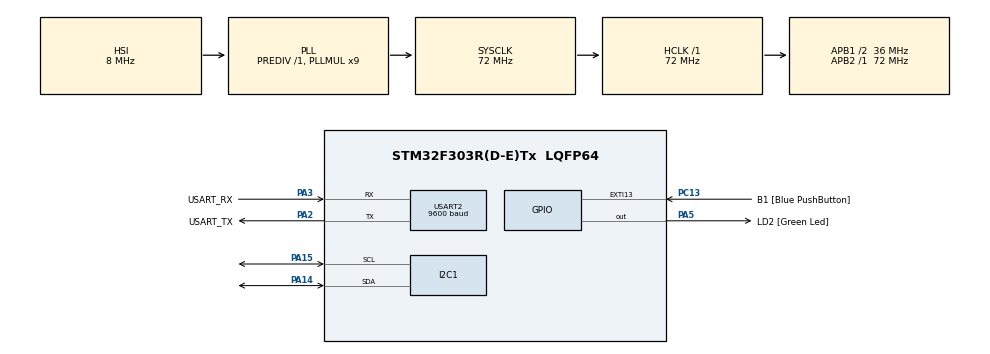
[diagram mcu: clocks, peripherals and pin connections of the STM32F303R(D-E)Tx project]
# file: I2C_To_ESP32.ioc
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Mcu.Family=STM32F3
PC15-OSC32_OUT.Mode=LSE-External-Oscillator
PA2.GPIO_PuPd=GPIO_NOPULL
RCC.CortexFreq_Value=72000000
PC13.Signal=GPXTI13
RCC.SYSCLKSourceVirtual=RCC_SYSCLKSOURCE_PLLCLK
PA3.GPIO_PuPd=GPIO_NOPULL
PA2.GPIO_Speed=GPIO_SPEED_FREQ_LOW
PC13.GPIO_Label=B1 [Blue PushButton]
RCC.APB1CLKDivider=RCC_HCLK_DIV2
PC14-OSC32_IN.Signal=RCC_OSC32_IN
PA3.GPIO_Speed=GPIO_SPEED_FREQ_LOW
USART2.BaudRate=9600
ProjectManager.StackSize=0x400
PA13.Signal=SYS_JTMS-SWDIO
PA3.Mode=Asynchronous
ProjectManager.TargetToolchain=STM32CubeIDE
PA3.GPIO_Mode=GPIO_MODE_AF_PP
RCC.HCLKFreq_Value=72000000
RCC.APB2TimFreq_Value=72000000
RCC.USBFreq_Value=72000000
PC15-OSC32_OUT.Signal=RCC_OSC32_OUT
RCC.AHBFreq_Value=72000000
PF0-OSC_IN.Mode=HSE-External-Clock-Source
PA5.Signal=GPIO_Output
RCC.HSE_VALUE=8000000
board=NUCLEO-F303RE
USART2.VirtualMode-Asynchronous=VM_ASYNC
PA15.Mode=I2C
RCC.RCC_PLLsource_Clock_Source_FROM_HSE=RCC_HSE_PREDIV_DIV2
RCC.PLLMUL=RCC_PLL_MUL9
RCC.APB2Freq_Value=72000000
PC14-OSC32_IN.Mode=LSE-External-Oscillator
PA14.Mode=I2C
PA5.GPIO_PuPd=GPIO_NOPULL
Mcu.Name=STM32F303R(D-E)Tx
PA2.Signal=USART2_TX
PA13.GPIO_Label=TMS
PB3.Signal=SYS_JTDO-TRACESWO
RCC.SYSCLKFreq_VALUE=72000000
Mcu.Package=LQFP64
PA5.GPIO_Label=LD2 [Green Led]
PC13.GPIO_ModeDefaultEXTI=GPIO_MODE_IT_FALLING
PA2.GPIO_Label=USART_TX
PA14.Signal=I2C1_SDA
PA15.Signal=I2C1_SCL
ProjectManager.HeapSize=0x200
RCC.HSI_VALUE=8000000
RCC.PLLP=RCC_PLLP_DIV4
PA5.GPIO_Speed=GPIO_SPEED_FREQ_LOW
RCC.PLLQ=7
NVIC.PriorityGroup=NVIC_PRIORITYGROUP_0
RCC.PLLM=8
RCC.PLLN=336
RCC.APB1TimFreq_Value=72000000
PA2.Mode=Asynchronous
PF0-OSC_IN.Signal=RCC_OSC_IN
RCC.APB1Freq_Value=36000000
PA5.GPIO_Mode=GPIO_MODE_OUTPUT_PP
PF1-OSC_OUT.Signal=RCC_OSC_OUT
PA3.GPIO_Label=USART_RX
PA3.Signal=USART2_RX
PA2.GPIO_Mode=GPIO_MODE_AF_PP
PB3.GPIO_Label=SWO

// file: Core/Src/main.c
/* USER CODE BEGIN Header */
/**
  ******************************************************************************
  * @file           : main.c
  * @brief          : Main program body
  ******************************************************************************
  * @attention
  *
  * <h2><center>&copy; Copyright (c) 2021 STMicroelectronics.
  * All rights reserved.</center></h2>
  *
  * This software component is licensed by ST under BSD 3-Clause license,
  * the "License"; You may not use this file except in compliance with the
  * License. You may obtain a copy of the License at:
  *                        opensource.org/licenses/BSD-3-Clause
  *
  ******************************************************************************
  */
/* USER CODE END Header */
#include "main.h"

/* USER CODE BEGIN Includes */
#include <string.h>
/* USER CODE END Includes */

/* USER CODE BEGIN PTD */
uint8_t crc_calc(uint8_t *data, unsigned int length);
/* USER CODE END PTD */

I2C_HandleTypeDef hi2c1;

UART_HandleTypeDef huart2;

/* USER CODE BEGIN PV */
static const uint8_t ESP_ADDR = 0x04 << 1; // Shift address to left to make space for W/R bit
uint8_t transmitBuffer[15];
uint8_t emptyPacket [4];
uint8_t receiveBuffer[17];
uint8_t statusBuffer[28];
uint8_t seed = 0;
/* USER CODE END PV */

void SystemClock_Config(void);
static void MX_GPIO_Init(void);
static void MX_USART2_UART_Init(void);
static void MX_I2C1_Init(void);

int main(void)
{
  /* USER CODE BEGIN 1 */

	HAL_StatusTypeDef ret;

	/* The ESP32 code for I2C implements a WirePacker library which packs and unpacks data for transmission
	 * purposes. To communicate with the ESP32 the nucleo-f303re needs to start transmission with 0x02,
	 * add the number of payload bytes (which is noted as n) with 4, add the preferred amount of data up to
	 * 124 bytes (128 bytes in total of which 4 are used by start, length, crc and end), add CRC and end
	 * the transmission with 0x04.
	 *
	 * _____________________________________________________________________________________________________
	 * |            | Start | Length  | Data [0] | Data[1] | ... | Data[n-1] |       CRC8        |   End   |
	 * -----------------------------------------------------------------------------------------------------
	 * | byte index |   0   |    1    |     2    |    3    | ... |    n+1    |        n+2        |   n+3   |
	 * -----------------------------------------------------------------------------------------------------
	 * |   value    | 0x02  |   n+4   |  data[0] | data[1] | ... | data[n-1] | crc of [1..(n+1)] |   0x04  |
	 * -----------------------------------------------------------------------------------------------------
	 *
	 * The nucleo-f303re has to send an empty packet first in order to receive data from the ESP32.
	 *
	 * NOTE: most values are hard coded for testing purposes. Add your own code to automatically fill
	 * the buffers
	*/

	transmitBuffer[0] = 0x02;
	transmitBuffer[1] = sizeof(transmitBuffer) / sizeof(transmitBuffer[0]);
	transmitBuffer[2] = 'F';
	transmitBuffer[3] = 'r';
	transmitBuffer[4] = 'o';
	transmitBuffer[5] = 'm';
	transmitBuffer[6] = ' ';
	transmitBuffer[7] = 'N';
	transmitBuffer[8] = 'u';
	transmitBuffer[9] = 'c';
	transmitBuffer[10] = 'l';
	transmitBuffer[11] = 'e';
	transmitBuffer[12] = 'o';
	transmitBuffer[13] = crc_calc(transmitBuffer + 2, 11);
	transmitBuffer[14] = 0x04;

	emptyPacket[0] = 0x02;
	emptyPacket[1] = 4;
	emptyPacket[2] = crc_calc(emptyPacket + 2, 1);
	emptyPacket[3] = 0x04;

  /* USER CODE END 1 */

  /* MCU Configuration--------------------------------------------------------*/

  /* Reset of all peripherals, Initializes the Flash interface and the Systick. */
  HAL_Init();

  /* Configure the system clock */
  SystemClock_Config();

  /* Initialize all configured peripherals */
  MX_GPIO_Init();
  MX_USART2_UART_Init();
  MX_I2C1_Init();

  /* Infinite loop */
  /* USER CODE BEGIN WHILE */
  while (1)
  {
	  // First transmit an empty packet and receive data from ESP32
	  seed = 0;
	  ret = HAL_I2C_Master_Transmit(&hi2c1, ESP_ADDR, emptyPacket, (sizeof(emptyPacket) / sizeof(emptyPacket[0])), HAL_MAX_DELAY); // Transmitting empty packet over I2C

	  // Use the return value to decide follow up steps and transmit this value over UART
	  if (ret != HAL_OK)
	  {
		  strcpy((char*)statusBuffer, "Error while transmitting\r\n");
		  HAL_UART_Transmit(&huart2, statusBuffer, strlen((char*)statusBuffer), HAL_MAX_DELAY);
	  }
	  else
	  {
		  strcpy((char*)statusBuffer, "Successfully transmitted\r\n");
		  HAL_UART_Transmit(&huart2, statusBuffer, strlen((char*)statusBuffer), HAL_MAX_DELAY);

		  ret = HAL_I2C_Master_Receive(&hi2c1, ESP_ADDR, receiveBuffer, (sizeof(receiveBuffer) / sizeof(receiveBuffer[0])), HAL_MAX_DELAY); // Receiving data from ESP32
		  if (ret != HAL_OK)
		  {
			  strcpy((char*)statusBuffer, "Problem during receiving\r\n");
			  HAL_UART_Transmit(&huart2, statusBuffer, strlen((char*)statusBuffer), HAL_MAX_DELAY);
		  }
		  else
		  {
			  // Transmit the received data over UART
			  HAL_UART_Transmit(&huart2, &receiveBuffer[2], 1, HAL_MAX_DELAY);
			  HAL_UART_Transmit(&huart2, &receiveBuffer[3], 1, HAL_MAX_DELAY);
			  HAL_UART_Transmit(&huart2, &receiveBuffer[4], 1, HAL_MAX_DELAY);
			  HAL_UART_Transmit(&huart2, &receiveBuffer[5], 1, HAL_MAX_DELAY);
			  HAL_UART_Transmit(&huart2, &receiveBuffer[6], 1, HAL_MAX_DELAY);
			  HAL_UART_Transmit(&huart2, &receiveBuffer[7], 1, HAL_MAX_DELAY);
			  HAL_UART_Transmit(&huart2, &receiveBuffer[8], 1, HAL_MAX_DELAY);
			  HAL_UART_Transmit(&huart2, &receiveBuffer[9], 1, HAL_MAX_DELAY);
			  HAL_UART_Transmit(&huart2, &receiveBuffer[10], 1, HAL_MAX_DELAY);
			  HAL_UART_Transmit(&huart2, &receiveBuffer[11], 1, HAL_MAX_DELAY);
			  HAL_UART_Transmit(&huart2, &receiveBuffer[12], 1, HAL_MAX_DELAY);
			  HAL_UART_Transmit(&huart2, &receiveBuffer[13], 1, HAL_MAX_DELAY);
			  HAL_UART_Transmit(&huart2, &receiveBuffer[14], 1, HAL_MAX_DELAY);

			  receiveBuffer[15] = '\r';
			  receiveBuffer[16] = '\n';
			  HAL_UART_Transmit(&huart2, &receiveBuffer[15], 1, HAL_MAX_DELAY);
			  HAL_UART_Transmit(&huart2, &receiveBuffer[16], 1, HAL_MAX_DELAY);
		  }
	  }

	  HAL_Delay(1000);

	  ret = HAL_I2C_Master_Transmit(&hi2c1, ESP_ADDR, transmitBuffer, (sizeof(transmitBuffer) / sizeof(transmitBuffer[0])), HAL_MAX_DELAY); // Transmitting empty packet over I2C

	  // Use the return value to decide follow up steps and transmit this value over UART
	  if (ret != HAL_OK)
	  {
		  strcpy((char*)statusBuffer, "Error while transmitting\r\n");
		  HAL_UART_Transmit(&huart2, statusBuffer, strlen((char*)statusBuffer), HAL_MAX_DELAY);
	  }
	  else
	  {
		  strcpy((char*)statusBuffer, "Successfully transmitted\r\n");
		  HAL_UART_Transmit(&huart2, statusBuffer, strlen((char*)statusBuffer), HAL_MAX_DELAY);
	  }

	  HAL_Delay(1000);

    /* USER CODE END WHILE */

  }
}

void SystemClock_Config(void)
{
  RCC_OscInitTypeDef RCC_OscInitStruct = {0};
  RCC_ClkInitTypeDef RCC_ClkInitStruct = {0};
  RCC_PeriphCLKInitTypeDef PeriphClkInit = {0};

  /** Initializes the RCC Oscillators according to the specified parameters
  * in the RCC_OscInitTypeDef structure.
  */
  RCC_OscInitStruct.OscillatorType = RCC_OSCILLATORTYPE_HSI;
  RCC_OscInitStruct.HSIState = RCC_HSI_ON;
  RCC_OscInitStruct.HSICalibrationValue = RCC_HSICALIBRATION_DEFAULT;
  RCC_OscInitStruct.PLL.PLLState = RCC_PLL_ON;
  RCC_OscInitStruct.PLL.PLLSource = RCC_PLLSOURCE_HSI;
  RCC_OscInitStruct.PLL.PLLMUL = RCC_PLL_MUL9;
  RCC_OscInitStruct.PLL.PREDIV = RCC_PREDIV_DIV1;
  if (HAL_RCC_OscConfig(&RCC_OscInitStruct) != HAL_OK)
  {
    Error_Handler();
  }
  /** Initializes the CPU, AHB and APB buses clocks
  */
  RCC_ClkInitStruct.ClockType = RCC_CLOCKTYPE_HCLK|RCC_CLOCKTYPE_SYSCLK
                              |RCC_CLOCKTYPE_PCLK1|RCC_CLOCKTYPE_PCLK2;
  RCC_ClkInitStruct.SYSCLKSource = RCC_SYSCLKSOURCE_PLLCLK;
  RCC_ClkInitStruct.AHBCLKDivider = RCC_SYSCLK_DIV1;
  RCC_ClkInitStruct.APB1CLKDivider = RCC_HCLK_DIV2;
  RCC_ClkInitStruct.APB2CLKDivider = RCC_HCLK_DIV1;

  if (HAL_RCC_ClockConfig(&RCC_ClkInitStruct, FLASH_LATENCY_2) != HAL_OK)
  {
    Error_Handler();
  }
  PeriphClkInit.PeriphClockSelection = RCC_PERIPHCLK_USART2|RCC_PERIPHCLK_I2C1;
  PeriphClkInit.Usart2ClockSelection = RCC_USART2CLKSOURCE_PCLK1;
  PeriphClkInit.I2c1ClockSelection = RCC_I2C1CLKSOURCE_HSI;
  if (HAL_RCCEx_PeriphCLKConfig(&PeriphClkInit) != HAL_OK)
  {
    Error_Handler();
  }
}

static void MX_I2C1_Init(void)
{

  hi2c1.Instance = I2C1;
  hi2c1.Init.Timing = 0x2000090E;
  hi2c1.Init.OwnAddress1 = 0;
  hi2c1.Init.AddressingMode = I2C_ADDRESSINGMODE_7BIT;
  hi2c1.Init.DualAddressMode = I2C_DUALADDRESS_DISABLE;
  hi2c1.Init.OwnAddress2 = 0;
  hi2c1.Init.OwnAddress2Masks = I2C_OA2_NOMASK;
  hi2c1.Init.GeneralCallMode = I2C_GENERALCALL_DISABLE;
  hi2c1.Init.NoStretchMode = I2C_NOSTRETCH_DISABLE;
  if (HAL_I2C_Init(&hi2c1) != HAL_OK)
  {
    Error_Handler();
  }
  /** Configure Analogue filter
  */
  if (HAL_I2CEx_ConfigAnalogFilter(&hi2c1, I2C_ANALOGFILTER_ENABLE) != HAL_OK)
  {
    Error_Handler();
  }
  /** Configure Digital filter
  */
  if (HAL_I2CEx_ConfigDigitalFilter(&hi2c1, 0) != HAL_OK)
  {
    Error_Handler();
  }

}

static void MX_USART2_UART_Init(void)
{

  huart2.Instance = USART2;
  huart2.Init.BaudRate = 9600;
  huart2.Init.WordLength = UART_WORDLENGTH_8B;
  huart2.Init.StopBits = UART_STOPBITS_1;
  huart2.Init.Parity = UART_PARITY_NONE;
  huart2.Init.Mode = UART_MODE_TX_RX;
  huart2.Init.HwFlowCtl = UART_HWCONTROL_NONE;
  huart2.Init.OverSampling = UART_OVERSAMPLING_16;
  huart2.Init.OneBitSampling = UART_ONE_BIT_SAMPLE_DISABLE;
  huart2.AdvancedInit.AdvFeatureInit = UART_ADVFEATURE_NO_INIT;
  if (HAL_UART_Init(&huart2) != HAL_OK)
  {
    Error_Handler();
  }

}

static void MX_GPIO_Init(void)
{
  GPIO_InitTypeDef GPIO_InitStruct = {0};

  /* GPIO Ports Clock Enable */
  __HAL_RCC_GPIOC_CLK_ENABLE();
  __HAL_RCC_GPIOF_CLK_ENABLE();
  __HAL_RCC_GPIOA_CLK_ENABLE();
  __HAL_RCC_GPIOB_CLK_ENABLE();

  /*Configure GPIO pin Output Level */
  HAL_GPIO_WritePin(LD2_GPIO_Port, LD2_Pin, GPIO_PIN_RESET);

  /*Configure GPIO pin : B1_Pin */
  GPIO_InitStruct.Pin = B1_Pin;
  GPIO_InitStruct.Mode = GPIO_MODE_IT_FALLING;
  GPIO_InitStruct.Pull = GPIO_NOPULL;
  HAL_GPIO_Init(B1_GPIO_Port, &GPIO_InitStruct);

  /*Configure GPIO pin : LD2_Pin */
  GPIO_InitStruct.Pin = LD2_Pin;
  GPIO_InitStruct.Mode = GPIO_MODE_OUTPUT_PP;
  GPIO_InitStruct.Pull = GPIO_NOPULL;
  GPIO_InitStruct.Speed = GPIO_SPEED_FREQ_LOW;
  HAL_GPIO_Init(LD2_GPIO_Port, &GPIO_InitStruct);

}

/* USER CODE BEGIN 4 */
uint8_t crc_calc(uint8_t *data, unsigned int length)
{
    uint8_t crc = seed;
    uint8_t extract;
    uint8_t sum;

    for (unsigned int i = 0; i < length; i++) {
        extract = *data;

        for (char j = 8; j; j--) {
            sum = (crc ^ extract) & 0x01;
            crc >>= 1;
            if (sum) {
                crc ^= 0x8C;
            }
            extract >>= 1;
        }

        data++;
    }

    return crc;
}
/* USER CODE END 4 */

void Error_Handler(void)
{
}

/************************ (C) COPYRIGHT STMicroelectronics *****END OF FILE****/
